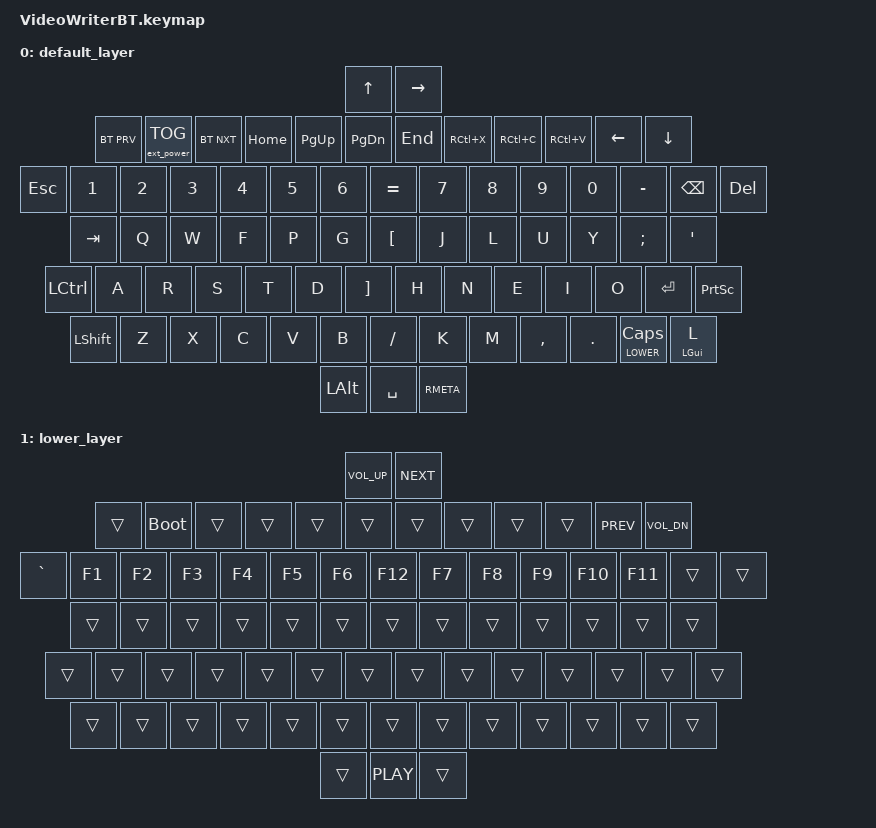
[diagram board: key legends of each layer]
/*
 * Copyright (c) 2020 The ZMK Contributors
 *
 * SPDX-License-Identifier: MIT
 */

#include <behaviors.dtsi>
#include <dt-bindings/zmk/keys.h>
#include <dt-bindings/zmk/bt.h>
#include <dt-bindings/zmk/ext_power.h>

#define DEFAULT 0
#define LOWER   1

/ {
	keymap {
		compatible = "zmk,keymap";

		default_layer {
			bindings = <
																					&kp UP   &kp RIGHT
			&bt BT_PRV &ext_power EP_TOG &bt BT_NXT 	&kp HOME &kp PG_UP &kp PG_DN &kp END 	&kp RC(X) &kp RC(C) &kp RC(V)   &kp LEFT 	 &kp DOWN 											               
			&kp ESC   &kp N1    &kp N2   &kp N3    &kp N4    &kp N5    &kp N6    &kp EQUAL  &kp N7    &kp N8    &kp N9   &kp N0    &kp MINUS &kp BSPC   &kp DEL
			&kp TAB   &kp Q  &kp W &kp F    &kp P  &kp G  		&kp LBKT	 &kp J    &kp L    &kp U    &kp Y    &kp SEMI  &kp SQT
			&kp LCTRL   &kp A     &kp R   &kp S    &kp T    &kp D     &kp RBKT     &kp H     &kp N    &kp E      &kp I     &kp O    &kp ENTER 	&kp PSCRN
			&kp LSHFT   &kp Z    &kp X    &kp C     &kp V     &kp B     &kp FSLH     &kp K      &kp M     &kp COMMA     &kp DOT    &lt LOWER CAPS		&mt LEFT_GUI L
									&kp LALT &kp SPACE      &kp RMETA
	
			>;
		};

		lower_layer {
			bindings = <
																			  &kp C_VOL_UP &kp C_NEXT
				&trans &bootloader &trans 	&trans &trans &trans &trans  	&trans &trans &trans   &kp C_PREV  &kp C_VOL_DN 														                
			&kp GRAVE   &kp F1    &kp F2   &kp F3    &kp F4    &kp F5    &kp F6    &kp F12  &kp F7    &kp F8    &kp F9   &kp F10    &kp F11 &trans	&trans
			&trans &trans &trans &trans    &trans &trans &trans &trans    &trans &trans &trans &trans  &trans
			&trans &trans &trans &trans   &trans &trans &trans &trans    &trans &trans &trans &trans    &trans	&trans
			&trans &trans &trans &trans     &trans &trans &trans &trans     &trans &trans &trans &trans		&trans
									&trans &kp C_PLAY     &trans
			
			>;
		};
	};
};
